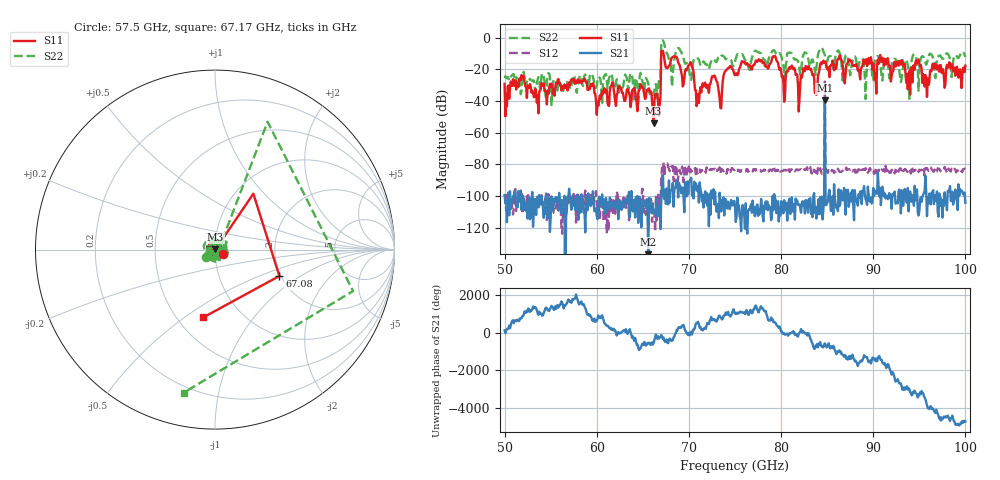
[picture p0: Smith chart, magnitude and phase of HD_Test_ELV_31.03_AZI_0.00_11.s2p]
! 11/25/2026 9:14:28 AM
! C:\ANRITSUVNA\TEMP\TEMP.S2P
! CHANNEL.1
! TR.MEASUREMENT
! RAW.DATA
# HZ S RI R 50.0
! FREQ.HZ  S11RE  S11IM  S21RE  S21IM  S12RE  S12IM  S22RE  S22IM
!; PortSelection: Port_12
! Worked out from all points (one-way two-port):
!   601 points, 50 GHz to 100 GHz, reference 50 ohm
!   highest |S21| = -39.64 dB at 84.75 GHz (marker M1); lowest = -140.0 dB at 65.58 GHz (marker M2)
!   lowest |S11| = -54.2 dB at 66.17 GHz (marker M3), VSWR 1.00, Z = 50.1 + j0.155 ohm
!   |S11| at or under -10 dB: start of sweep to 67 GHz; 67.24 GHz to end of sweep
!   |S22| runs from -42.7 to -1.8 dB; largest |S21 - S12| = 0.051
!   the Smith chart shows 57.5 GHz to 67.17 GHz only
!   S11 on the Smith chart (normalised r, x): 57.5 GHz: 1.09, -0.05; 67.08 GHz: 1.96, -0.68; 67.17 GHz: 0.67, -0.59
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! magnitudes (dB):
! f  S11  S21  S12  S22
! 50 GHz  -29.2  -99.4  -99.0  -25.3
! 57.5 GHz  -26.3  -102.2  -98.8  -23.7
! 58.42 GHz  -27.2  -101.4  -107.7  -29.0
! 60.17 GHz  -43.1  -104.2  -102.6  -24.8
! 65.58 GHz  -32.6  -140.0  -121.4  -28.8
! 66.17 GHz  -54.2  -110.6  -107.4  -35.4
! 66.67 GHz  -41.9  -110.1  -99.3  -32.1
! 67.08 GHz  -8.2  -92.3  -82.2  -1.9
! 67.17 GHz  -8.3  -87.1  -93.2  -1.8
! 70.17 GHz  -15.5  -89.8  -83.0  -25.7
! 70.92 GHz  -40.7  -96.5  -85.8  -13.3
! 75 GHz  -23.7  -106.8  -83.5  -15.0
! 79.25 GHz  -11.8  -98.9  -82.2  -7.9
! 80.25 GHz  -27.6  -111.0  -83.9  -17.7
! 83.42 GHz  -23.7  -113.4  -82.8  -13.8
! 83.83 GHz  -36.1  -114.3  -83.4  -19.5
! 84.75 GHz  -15.9  -39.6  -27.7  -11.0
! 91.67 GHz  -16.7  -99.9  -82.8  -20.5
! 93.75 GHz  -32.6  -95.0  -84.8  -17.3
! 94.83 GHz  -15.0  -110.3  -82.8  -20.3
! 95.83 GHz  -37.4  -112.8  -82.5  -15.9
! 100 GHz  -17.7  -104.4  -83.0  -12.2
